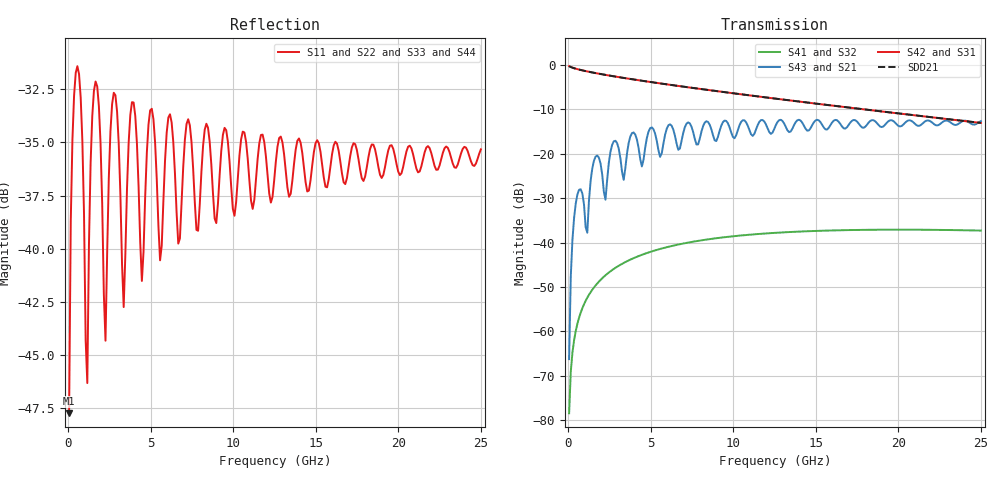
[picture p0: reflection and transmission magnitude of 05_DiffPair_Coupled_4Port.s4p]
! Touchstone 1.1 File - 75mm Coupled Differential Pair (4-Port with NEXT/FEXT)
! Ports: 4 | Reference Impedance: 50 Ohms
# GHz S RI R 50
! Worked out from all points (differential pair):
!   250 points, 50 MHz to 25 GHz, reference 50 ohm
!   strongest paths, dB at 50 MHz, 6.262 GHz, 12.58 GHz, 18.79 GHz, 25 GHz:
!     S42: -0.2, -4.5, -7.6, -10.4, -13.0
!     S31: -0.2, -4.5, -7.6, -10.4, -13.0
!     S43: -66.3, -13.7, -13.5, -13.4, -12.6
!     S21: -66.3, -13.7, -13.5, -13.4, -12.6
!     S41: -78.5, -40.8, -37.8, -37.1, -37.3
!     S32: -78.5, -40.8, -37.8, -37.1, -37.3
!   taken as a pair (ports 2,1 in; 4,3 out), SDD21 dB: -0.2, -4.5, -7.6, -10.3, -13.0
!   lowest |S11| = -47.7 dB at 50 MHz (marker M1), VSWR 1.01, Z = 50.1 + j0.387 ohm
!   |S11| at or under -10 dB: start of sweep to end of sweep
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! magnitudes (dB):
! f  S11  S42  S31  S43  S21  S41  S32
! 50 MHz  -47.7  -0.2  -0.2  -66.3  -66.3  -78.5  -78.5
! 250.4 MHz  -34.9  -0.6  -0.6  -39.4  -39.4  -64.8  -64.8
! 551 MHz  -31.4  -0.9  -0.9  -29.2  -29.2  -58.3  -58.3
! 1.152 GHz  -46.3  -1.4  -1.4  -37.8  -37.8  -52.4  -52.4
! 1.553 GHz  -32.6  -1.7  -1.7  -21.6  -21.6  -50.1  -50.1
! 2.755 GHz  -32.7  -2.5  -2.5  -17.2  -17.2  -45.9  -45.9
! 25 GHz  -35.3  -13.0  -13.0  -12.6  -12.6  -37.3  -37.3
